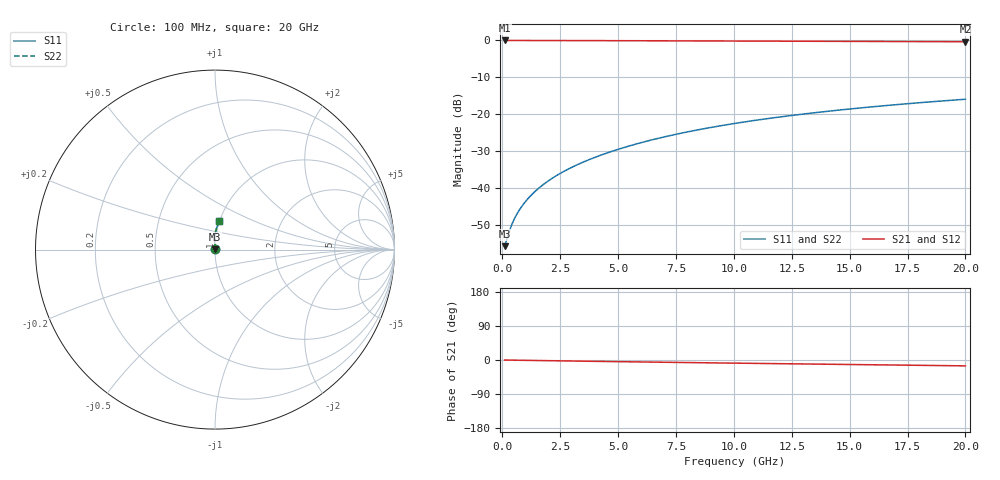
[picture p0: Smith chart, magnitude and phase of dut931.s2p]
! Touchstone file exported from HFSS 2024.1.0
!  File:  C:/UserFiles/LocalFiles/RDL_TSV_Batchsim/temp_RDL_top_931_1779937018.aedt
!  Generated:  10:59:57 AM May 28, 2026
!  Design:  RDL_top
!  Project:  temp_RDL_top_931_1779937018
!  Setup:  Setup1
!  Solution:  Sweep
! Variables:
!  dtsv = 10.80580581um
!  hbump = 3um
!  htsv = 82.06um
!  ldown = 100um
!  lrdl = 186.45um
!  p = 40
!  p1 = 53.6um
!  rhole = 1um
!  t = 450um
!  tdown = 3.915915916um
!  trdl = 2.22um
!  wdown = 15.38538539um
!  wrdl = 29.34um
# GHz S MA R 50.000000
! Terminal data exported
! Port[1] = Box2_T1
! Port[2] = Box2_T2
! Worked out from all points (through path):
!   200 points, 100 MHz to 20 GHz, reference 50 ohm
!   highest |S21| = -0.01 dB at 100 MHz (marker M1); lowest = -0.4 dB at 20 GHz (marker M2)
!   group delay of S21, straight-line fit = 2.12 ps
!   lowest |S11| = -55.9 dB at 100 MHz (marker M3), VSWR 1.00, Z = 50.1 + j0.0699 ohm
!   |S11| at or under -10 dB: start of sweep to end of sweep
!   |S22| runs from -55.9 to -16.0 dB; largest |S21 - S12| = 3e-15
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0.1  0.00161 25.7  0.9985 -0.1  0.9985 -0.1  0.00161 25.7
! Gamma 0 0 0 0
! Port Impedance 50 0 50 0
0.3  0.002552 52.8  0.9984 -0.3  0.9984 -0.3  0.002552 52.8
0.4  0.003103 59.1  0.9983 -0.4  0.9983 -0.4  0.003103 59.1
0.6  0.004221 66.8  0.9981 -0.6  0.9981 -0.6  0.004221 66.8
0.7  0.004782 69.5  0.9981 -0.7  0.9981 -0.7  0.004782 69.5
0.9  0.005913 73.6  0.9979 -0.8  0.9979 -0.8  0.005913 73.6
1.2  0.007644 77.9  0.9976 -1.1  0.9976 -1.1  0.007644 77.9
1.4  0.008822 80.0  0.9974 -1.3  0.9974 -1.3  0.008822 80.0
1.7  0.01063 82.5  0.9971 -1.6  0.9971 -1.6  0.01063 82.5
2.2  0.01373 85.5  0.9965 -2.0  0.9965 -2.0  0.01373 85.5
2.8  0.0176 87.9  0.9956 -2.5  0.9956 -2.5  0.0176 87.9
3.5  0.02233 89.9  0.9943 -3.1  0.9943 -3.1  0.02233 89.9
4.2  0.02729 91.1  0.9929 -3.7  0.9929 -3.7  0.0273 91.1
5  0.03322 92.0  0.9912 -4.4  0.9912 -4.4  0.03323 92.0
5.9  0.04019 92.4  0.9892 -5.1  0.9892 -5.1  0.04019 92.4
6.8  0.04741 92.4  0.9871 -5.8  0.9871 -5.8  0.04741 92.4
8.4  0.06069 91.8  0.9834 -7.1  0.9834 -7.1  0.06069 91.8
10.1  0.07516 90.6  0.9796 -8.4  0.9796 -8.4  0.07517 90.6
11.7  0.08892 89.2  0.9762 -9.5  0.9762 -9.5  0.08893 89.2
13.4  0.1035 87.6  0.9726 -10.8  0.9726 -10.8  0.1036 87.6
16.7  0.1316 84.4  0.9661 -13.1  0.9661 -13.1  0.1316 84.4
20  0.159 81.3  0.9595 -15.5  0.9595 -15.5  0.1591 81.3
